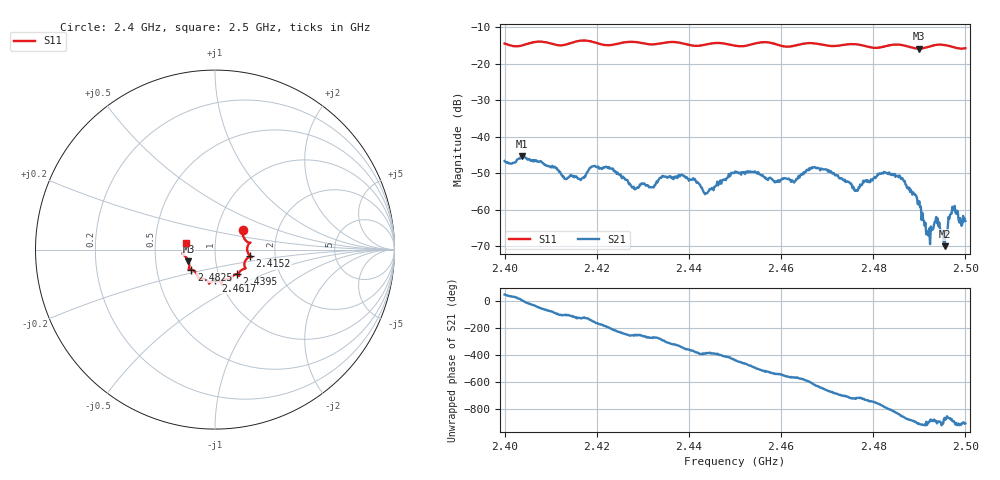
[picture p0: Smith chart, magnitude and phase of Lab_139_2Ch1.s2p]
# Hz S RI R 50
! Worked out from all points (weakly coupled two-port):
!   601 points, 2.4 GHz to 2.5 GHz, reference 50 ohm
!   highest |S21| = -45.36 dB at 2.4038 GHz (marker M1); lowest = -69.9 dB at 2.4955 GHz (marker M2)
!   lowest |S11| = -15.9 dB at 2.4898 GHz (marker M3), VSWR 1.38, Z = 36.9 - j4.89 ohm
!   |S11| at or under -10 dB: start of sweep to end of sweep
!   S12 and S22 are empty: the file has one direction only
!   S11 on the Smith chart (normalised r, x): 2.4 GHz: 1.33, +0.30; 2.4152 GHz: 1.48, -0.11; 2.4395 GHz: 1.22, -0.35; 2.4617 GHz: 0.94, -0.33; 2.4825 GHz: 0.75, -0.17; 2.5 GHz: 0.72, +0.05
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2.4e9  0.1552 0.1089  0.00291 0.00363  0 0  0 0
2.403833e9  0.1714 0.0505  0.00537 0.000571  0 0  0 0
2.415167e9  0.1961 -0.0364  -0.00122 -0.00251  0 0  0 0
2.416667e9  0.2041 -0.0419  -0.00158 -0.00211  0 0  0 0
2.419333e9  0.1941 -0.0409  -0.00345 -0.00196  0 0  0 0
2.428167e9  0.1697 -0.1044  -0.000498 0.00186  0 0  0 0
2.433333e9  0.1328 -0.1332  0.000133 0.00253  0 0  0 0
2.4395e9  0.1224 -0.138  0.0028 0.000241  0 0  0 0
2.443667e9  0.0876 -0.1613  0.00153 -0.000693  0 0  0 0
2.45e9  0.0666 -0.1642  0.000677 -0.00328  0 0  0 0
2.461667e9  0.00115 -0.1718  -0.00248 0.00101  0 0  0 0
2.466667e9  -0.0336 -0.189  -0.00141 0.00356  0 0  0 0
2.476333e9  -0.0941 -0.1592  0.00184 5.44e-06  0 0  0 0
2.4825e9  -0.1326 -0.1114  0.0012 -0.00304  0 0  0 0
2.483333e9  -0.1399 -0.1104  0.00044 -0.00306  0 0  0 0
2.486167e9  -0.1465 -0.1063  -0.0019 -0.00196  0 0  0 0
2.489833e9  -0.1477 -0.0646  -0.00116 0.000299  0 0  0 0
2.491833e9  -0.1654 -0.038  -0.000454 8.46e-05  0 0  0 0
2.493833e9  -0.1803 -0.0243  -0.000646 0.000115  0 0  0 0
2.4955e9  -0.1797 -0.0192  -0.000271 -0.000167  0 0  0 0
2.497167e9  -0.1704 -0.00818  -0.0011 -0.000124  0 0  0 0
2.5e9  -0.1596 0.0354  -0.000692 0.000127  0 0  0 0
